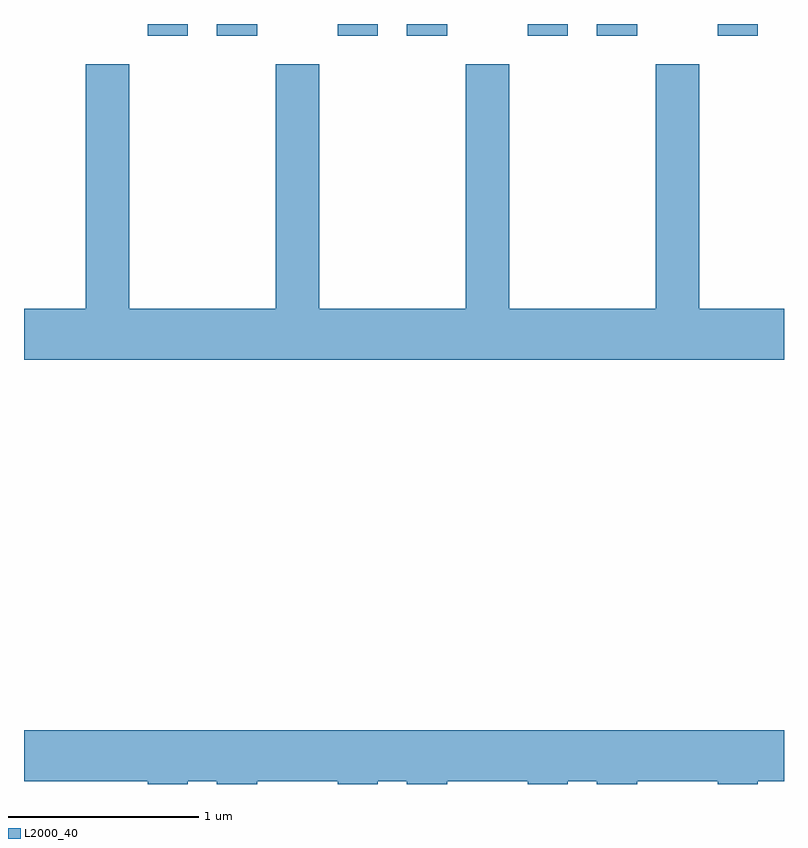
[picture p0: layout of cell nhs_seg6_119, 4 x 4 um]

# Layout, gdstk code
import gdstk
lib = gdstk.Library(unit=1e-6, precision=1e-09)
def R(c, l, rs):  # rectangles x0, y0, x1, y1
    for r in rs: c.add(gdstk.rectangle(r[:2], r[2:], *l))
def P(c, l, *ps):  # polygons
    for p in ps: c.add(gdstk.Polygon(p, *l))
L2000_40 = (2000, 40)

nhs_seg6_119 = lib.new_cell('nhs_seg6_119')
R(nhs_seg6_119, L2000_40, [(188.261,1636.101,188.474,1636.162), (188.626,1636.101,188.839,1636.162), (189.261,1636.101,189.474,1636.162), (189.626,1636.101,189.839,1636.162), (190.261,1636.101,190.474,1636.162), (190.626,1636.101,190.839,1636.162), (191.261,1636.101,191.474,1636.162)])
P(nhs_seg6_119, L2000_40, [(191.611,1634.664),(191.164,1634.664),(191.164,1635.949),(190.936,1635.949),(190.936,1634.664),(190.164,1634.664),(190.164,1635.949),(189.936,1635.949),(189.936,1634.664),(189.164,1634.664),(189.164,1635.949),(188.936,1635.949),(188.936,1634.664),(188.164,1634.664),(188.164,1635.949),(187.936,1635.949),(187.936,1634.664),(187.611,1634.664),(187.611,1634.396),(191.611,1634.396)],
  [(188.474,1632.176),(188.626,1632.176),(188.626,1632.162),(188.839,1632.162),(188.839,1632.176),(189.261,1632.176),(189.261,1632.162),(189.474,1632.162),(189.474,1632.176),(189.626,1632.176),(189.626,1632.162),(189.839,1632.162),(189.839,1632.176),(190.261,1632.176),(190.261,1632.162),(190.474,1632.162),(190.474,1632.176),(190.626,1632.176),(190.626,1632.162),(190.839,1632.162),(190.839,1632.176),(191.261,1632.176),(191.261,1632.162),(191.474,1632.162),(191.474,1632.176),(191.611,1632.176),(191.611,1632.444),(187.611,1632.444),(187.611,1632.176),(188.261,1632.176),(188.261,1632.162),(188.474,1632.162)])

lib.write_gds('nhs_seg6_119.gds')
